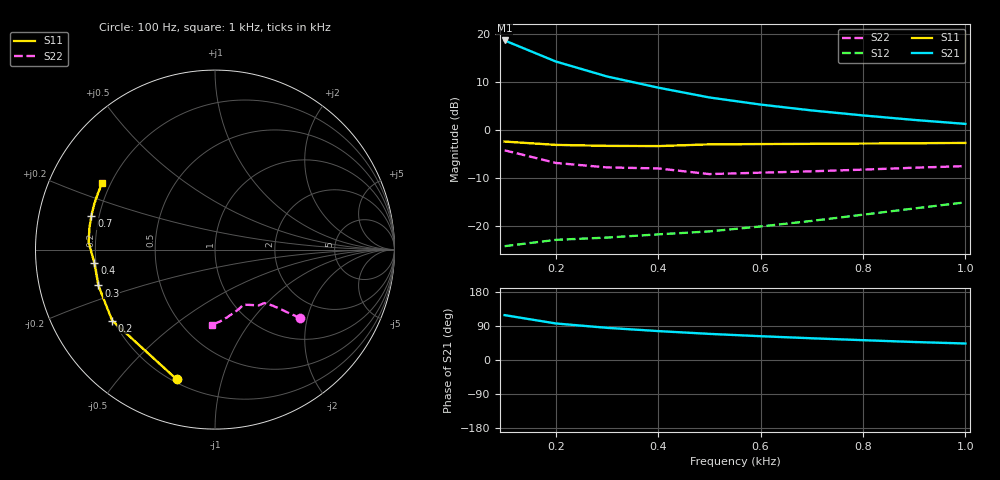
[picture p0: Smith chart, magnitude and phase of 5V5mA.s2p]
#  HZ  S  MA  R  50.0000
! Device:2SC5551A
! Bias:VCE=5V, IC=5mA
!MHZ	S11(MAG/ANG)		S21(MAG/ANG)		S12(MAG/ANG)		S22(MAG/ANG)
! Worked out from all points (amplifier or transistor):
!   10 points, 100 Hz to 1 kHz, reference 50 ohm
!   highest |S21| = 18.7 dB at 100 Hz (marker M1)
!   |S21| within 3 dB of that: start of sweep to 168.2 Hz
!   unconditionally stable (mu >= 1): 483.6 Hz to 807.4 Hz
!   at 200 Hz: K = 0.50, MSG = 18.6 dB, |S12| = -23.0 dB
!   at 600 Hz: K = 1.05, MAG = 11.3 dB, |S12| = -20.2 dB
!   at 1 kHz: K = 0.90, MSG = 8.2 dB, |S12| = -15.1 dB
!   S11 on the Smith chart (normalised r, x): 100 Hz: 0.22, -0.73; 200 Hz: 0.20, -0.30; 300 Hz: 0.19, -0.14; 400 Hz: 0.19, -0.05; 700 Hz: 0.17, +0.13; 1 kHz: 0.17, +0.27
100  0.754 -106.4  8.566 118.4  0.061 41.5  0.611 -38.8
200  0.696 -145.4  5.164 96.4  0.071 35.3  0.451 -44.0
300  0.68 -162.9  3.605 84.9  0.075 38.9  0.405 -47.3
400  0.676 -173.6  2.755 76.3  0.081 45.2  0.395 -51.9
500  0.705 176.7  2.176 68.9  0.087 51.8  0.345 -62.6
600  0.71 170.3  1.834 62.8  0.098 58.3  0.357 -68.1
700  0.714 164.7  1.593 57.3  0.112 63.7  0.369 -74.4
800  0.719 159.4  1.413 52.3  0.13 67.9  0.384 -80.1
900  0.724 154.1  1.268 47.5  0.151 70.3  0.402 -86.2
1000  0.73 149.4  1.153 43.5  0.175 72.2  0.418 -92.0
